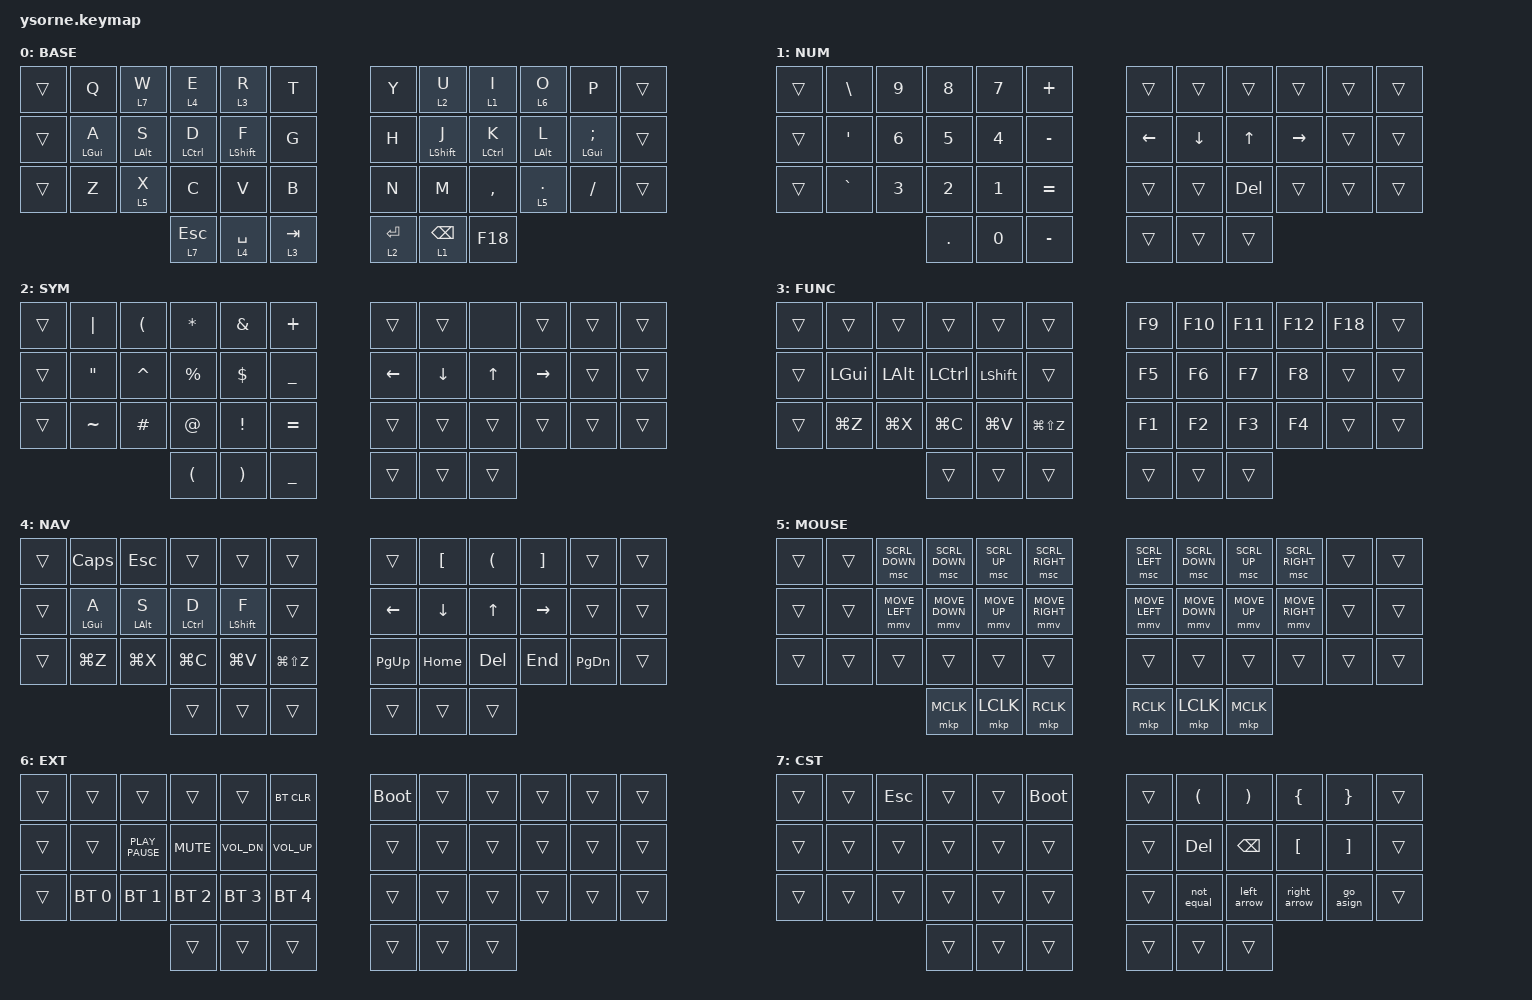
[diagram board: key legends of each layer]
#include <behaviors.dtsi>
#include <dt-bindings/zmk/bt.h>
#include <dt-bindings/zmk/keys.h>
#include <dt-bindings/zmk/pointing.h>

&led_strip {
    chain-length = <0>;

    // chain-length = <27>;
    // 21 backlight + 6 glowlight
};

&nice_view_spi { cs-gpios = <&pro_micro 4 GPIO_ACTIVE_HIGH>; };

#define TAPPING_TERM 200

/ {
    behaviors {
        /*
    * td_lock groups locking functions into one key:
    *  - tap once to lock the host
    *  - tap twice to put the host to sleep
    */

        td_lock: tap_dance_lock {
            compatible = "zmk,behavior-tap-dance";
            label = "TAP_DANCE_LOCK";
            #binding-cells = <0>;
            tapping-term-ms = <TAPPING_TERM>;
            bindings = <&kp LG(LC(Q))>, <&kp LG(LA(C_EJECT))>;
        };

        HRM: HRM {
            compatible = "zmk,behavior-hold-tap";
            label = "HRM";
            bindings = <&kp>, <&kp>;

            #binding-cells = <2>;
            tapping-term-ms = <200>;
            quick-tap-ms = <190>;
            flavor = "tap-preferred";
            hold-trigger-key-positions = <0 1 2 3 4 5 6 7 8 9 10 11 12 13 14 15 16 17 18 19 20 21 22 23 24 25 26 27 28 29 30 31 32 33 34 35 36 37 38 39 40 41>;
            hold-trigger-on-release;
        };

        HMLT: HMLT {
            compatible = "zmk,behavior-hold-tap";
            label = "HMLT";
            bindings = <&mo>, <&kp>;

            #binding-cells = <2>;
            tapping-term-ms = <200>;
            quick-tap-ms = <190>;
            flavor = "tap-preferred";
            hold-trigger-key-positions = <0 1 2 3 4 5 6 7 8 9 10 11 12 13 14 15 16 17 18 19 20 21 22 23 24 25 26 27 28 29 30 31 32 33 34 35 36 37 38 39 40 41>;
        };

        HMLT2: HMLT2 {
            compatible = "zmk,behavior-hold-tap";
            label = "HMLT2";
            bindings = <&mo>, <&kp>;

            #binding-cells = <2>;
            tapping-term-ms = <215>;
            quick-tap-ms = <200>;
            flavor = "tap-preferred";
            hold-trigger-key-positions = <0 1 2 3 4 5 6 7 8 9 10 11 12 13 14 15 16 17 18 19 20 21 22 23 24 25 26 27 28 29 30 31 32 33 34 35 36 37 38 39 40 41>;
        };
    };

    combos {
        compatible = "zmk,combos";

        Capslock {
            bindings = <&kp SPACE>;
            key-positions = <15 16>;
        };

        dash {
            bindings = <&kp MINUS>;
            key-positions = <19 20>;
            timeout-ms = <30>;
        };

        underbar {
            bindings = <&kp UNDERSCORE>;
            key-positions = <20 21>;
            timeout-ms = <30>;
            layers = <0>;
        };

        tab {
            bindings = <&kp TAB>;
            key-positions = <14 15>;
            timeout-ms = <30>;
        };

        backspace {
            bindings = <&kp BACKSPACE>;
            key-positions = <8 9>;
        };

        esc_combo {
            bindings = <&kp ESCAPE>;
            key-positions = <2 3>;
        };

        del {
            bindings = <&kp DELETE>;
            key-positions = <7 8>;
        };

        f18 {
            bindings = <&kp F18>;
            key-positions = <32 33>;
        };
    };

    macros {
        git_status: git_status {
            compatible = "zmk,behavior-macro";
            #binding-cells = <0>;
            bindings = <&kp G &kp I &kp T &kp SPACE &kp S &kp T &kp A &kp T &kp U &kp S>;
            label = "GIT_STATUS";
        };

        git_commit_all: git_commit_all {
            compatible = "zmk,behavior-macro";
            #binding-cells = <0>;
            bindings = <&kp G &kp I &kp T &kp SPACE &kp C &kp O &kp M &kp M &kp I &kp T &kp SPACE &kp MINUS &kp A &kp MINUS &kp M &kp SPACE &kp DQT &kp DQT &kp LEFT_ARROW>;
            label = "GIT_COMMIT";
        };

        equal_arrow: equal_arrow {
            compatible = "zmk,behavior-macro";
            #binding-cells = <0>;
            bindings = <&kp EQUAL &kp GREATER_THAN>;
            label = "EQUAL_ARROW";
        };

        minus_arrow: minus_arrow {
            compatible = "zmk,behavior-macro";
            #binding-cells = <0>;
            bindings = <&kp MINUS &kp GREATER_THAN>;
            label = "MINUS_ARROW";
        };

        parentheses_and_move: parentheses_and_move {
            compatible = "zmk,behavior-macro";
            #binding-cells = <0>;
            bindings = <&kp LEFT_PARENTHESIS &kp RIGHT_PARENTHESIS>;
            label = "PARENTHESES_AND_MOVE";
        };

        rbb: next_next {
            compatible = "zmk,behavior-macro";
            #binding-cells = <0>;
            bindings = <&kp RIGHT_BRACKET &kp RIGHT_BRACE>;
            label = "NEXT_NEXT";
        };

        lbb: lbb {
            compatible = "zmk,behavior-macro";
            #binding-cells = <0>;
            bindings = <&kp LEFT_BRACKET &kp LEFT_BRACE>;
            label = "LBB";
        };

        go_asign: go_asign {
            compatible = "zmk,behavior-macro";
            #binding-cells = <0>;
            bindings = <&kp COLON &kp EQUAL>;
            label = "GO_ASIGN";
        };

        not_equal: not_equal {
            compatible = "zmk,behavior-macro";
            #binding-cells = <0>;
            bindings = <&kp EXCL &kp EQUAL>;
            label = "NOT_EQUAL";
        };

        left_arrow: left_arrow {
            compatible = "zmk,behavior-macro";
            #binding-cells = <0>;
            bindings = <&kp LESS_THAN &kp MINUS>;
            label = "LEFT_ARROW";
        };

        right_arrow: right_arrow {
            compatible = "zmk,behavior-macro";
            #binding-cells = <0>;
            bindings = <&kp MINUS &kp GREATER_THAN>;
            label = "RIGHT_ARROW";
        };
    };

    keymap {
        compatible = "zmk,keymap";

        base_layer {
            label = "BASE";
            bindings = <
&trans  &kp Q            &HMLT2 7 W       &HMLT2 4 E      &HMLT2 3 R         &kp T          &kp Y          &HMLT2 2 U         &HMLT2 1 I    &HMLT2 6 O       &kp P               &trans
&trans  &HRM LEFT_GUI A  &HRM LEFT_ALT S  &HRM LCTRL D    &HRM LEFT_SHIFT F  &kp G          &kp H          &HRM LEFT_SHIFT J  &HRM LCTRL K  &HRM LEFT_ALT L  &HRM LEFT_GUI SEMI  &trans
&trans  &kp Z            &HMLT 5 X        &kp C           &kp V              &kp B          &kp N          &kp M              &kp COMMA     &HMLT 5 DOT      &kp SLASH           &trans
                                          &HMLT 7 ESCAPE  &HMLT 4 SPACE      &HMLT 3 TAB    &HMLT 2 ENTER  &HMLT 1 BACKSPACE  &kp F18
            >;
        };

        num {
            bindings = <
&trans  &kp BACKSLASH  &kp N9  &kp N8   &kp N7  &kp PLUS     &trans    &trans    &trans        &trans     &trans  &trans
&trans  &kp SQT        &kp N6  &kp N5   &kp N4  &kp MINUS    &kp LEFT  &kp DOWN  &kp UP_ARROW  &kp RIGHT  &trans  &trans
&trans  &kp GRAVE      &kp N3  &kp N2   &kp N1  &kp EQUAL    &trans    &trans    &kp DELETE    &trans     &trans  &trans
                               &kp DOT  &kp N0  &kp MINUS    &trans    &trans    &trans
            >;

            label = "NUM";
        };

        sym {
            bindings = <
&trans  &kp PIPE   &kp LPAR   &kp STAR   &kp AMPS  &kp PLUS          &trans    &trans    &none   &trans     &trans  &trans
&trans  &kp DQT    &kp CARET  &kp PRCNT  &kp DLLR  &kp UNDERSCORE    &kp LEFT  &kp DOWN  &kp UP  &kp RIGHT  &trans  &trans
&trans  &kp TILDE  &kp POUND  &kp AT     &kp EXCL  &kp EQUAL         &trans    &trans    &trans  &trans     &trans  &trans
                              &kp LPAR   &kp RPAR  &kp UNDER         &trans    &trans    &trans
            >;

            label = "SYM";
        };

        func {
            bindings = <
&trans  &trans        &trans        &trans     &trans      &trans           &kp F9  &kp F10  &kp F11  &kp F12  &kp F18  &trans
&trans  &kp LEFT_GUI  &kp LEFT_ALT  &kp LCTRL  &kp LSHIFT  &trans           &kp F5  &kp F6   &kp F7   &kp F8   &trans   &trans
&trans  &kp LG(Z)     &kp LG(X)     &kp LG(C)  &kp LG(V)   &kp LG(LS(Z))    &kp F1  &kp F2   &kp F3   &kp F4   &trans   &trans
                                    &trans     &trans      &trans           &trans  &trans   &trans
            >;

            label = "FUNC";
        };

        Nav {
            bindings = <
&trans  &kp CAPSLOCK     &kp ESC          &trans        &trans         &trans           &trans     &kp LEFT_BRACKET  &kp LEFT_PARENTHESIS  &kp RIGHT_BRACKET  &trans     &trans
&trans  &HRM LEFT_GUI A  &HRM LEFT_ALT S  &HRM LCTRL D  &HRM LSHIFT F  &trans           &kp LEFT   &kp DOWN          &kp UP                &kp RIGHT          &trans     &trans
&trans  &kp LG(Z)        &kp LG(X)        &kp LG(C)     &kp LG(V)      &kp LG(LS(Z))    &kp PG_UP  &kp HOME          &kp DEL               &kp END            &kp PG_DN  &trans
                                          &trans        &trans         &trans           &trans     &trans            &trans
            >;

            label = "NAV";
        };

        mouse {
            bindings = <
&trans  &trans  &msc SCRL_DOWN  &msc SCRL_DOWN  &msc SCRL_UP  &msc SCRL_RIGHT    &msc SCRL_LEFT  &msc SCRL_DOWN  &msc SCRL_UP  &msc SCRL_RIGHT  &trans  &trans
&trans  &trans  &mmv MOVE_LEFT  &mmv MOVE_DOWN  &mmv MOVE_UP  &mmv MOVE_RIGHT    &mmv MOVE_LEFT  &mmv MOVE_DOWN  &mmv MOVE_UP  &mmv MOVE_RIGHT  &trans  &trans
&trans  &trans  &trans          &trans          &trans        &trans             &trans          &trans          &trans        &trans           &trans  &trans
                                &mkp MCLK       &mkp LCLK     &mkp RCLK          &mkp RCLK       &mkp LCLK       &mkp MCLK
            >;

            label = "MOUSE";
        };

        extended_layer {
            label = "EXT";
            bindings = <
&trans  &trans        &trans            &trans        &trans        &bt BT_CLR      &bootloader  &trans  &trans  &trans  &trans  &trans
&trans  &trans        &kp K_PLAY_PAUSE  &kp K_MUTE    &kp C_VOL_DN  &kp C_VOL_UP    &trans       &trans  &trans  &trans  &trans  &trans
&trans  &bt BT_SEL 0  &bt BT_SEL 1      &bt BT_SEL 2  &bt BT_SEL 3  &bt BT_SEL 4    &trans       &trans  &trans  &trans  &trans  &trans
                                        &trans        &trans        &trans          &trans       &trans  &trans
            >;
        };

        custom {
            bindings = <
&trans  &trans  &kp ESCAPE  &trans  &trans  &bootloader    &trans  &kp LEFT_PARENTHESIS  &kp RIGHT_PARENTHESIS  &kp LEFT_BRACE    &kp RIGHT_BRACE    &trans
&trans  &trans  &trans      &trans  &trans  &trans         &trans  &kp DELETE            &kp BACKSPACE          &kp LEFT_BRACKET  &kp RIGHT_BRACKET  &trans
&trans  &trans  &trans      &trans  &trans  &trans         &trans  &not_equal            &left_arrow            &right_arrow      &go_asign          &trans
                            &trans  &trans  &trans         &trans  &trans                &trans
            >;

            label = "CST";
        };
    };

    conditional_layers {
        compatible = "zmk,conditional-layers";

        Activate_EXT {
            if-layers = <6 6>;
            then-layer = <6>;
        };
    };
};
